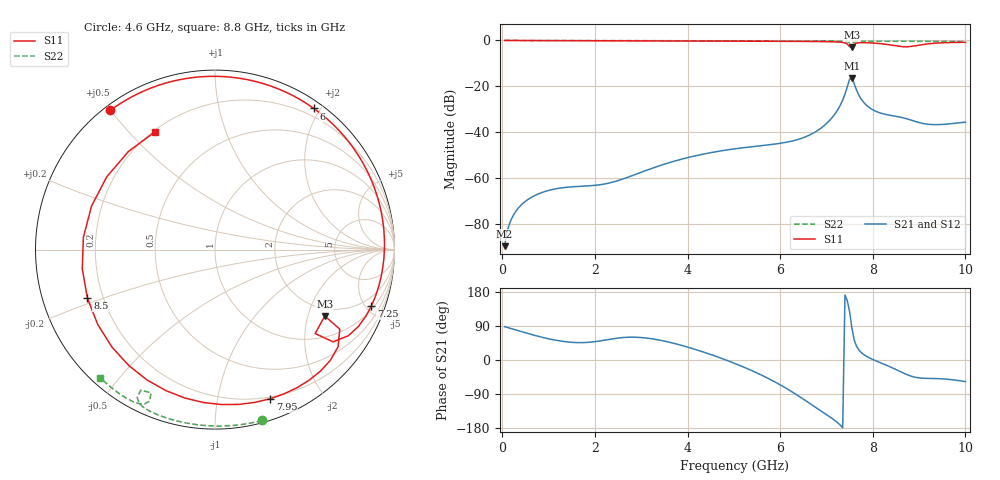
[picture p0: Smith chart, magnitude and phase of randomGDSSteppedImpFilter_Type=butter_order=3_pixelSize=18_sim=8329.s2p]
! freq	dB(S11)	phase(S11)	dB(S12)	phase(S12)
!  dB(S21)	phase(S21)	dB(S22)	phase(S22)
!S-par simulation data
#  GHz  S  DB  R 50
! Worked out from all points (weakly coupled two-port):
!   200 points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, 50 MHz to 10 GHz, reference 50 ohm
!   highest |S21| = -16.33 dB at 7.55 GHz (marker M1); lowest = -89.7 dB at 50 MHz (marker M2)
!   lowest |S11| = -2.9 dB at 7.55 GHz (marker M3), VSWR 6.02, Z = 84.9 - j129 ohm
!   |S11| at or under -10 dB: nowhere
!   |S22| runs from -1.2 to 0.0 dB; largest |S21 - S12| = 0
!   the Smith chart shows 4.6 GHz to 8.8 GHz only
!   S11 on the Smith chart (normalised r, x): 4.6 GHz: 0.02, +0.50; 6 GHz: 0.10, +1.92; 7.25 GHz: 1.23, -5.43; 7.95 GHz: 0.18, -1.42; 8.5 GHz: 0.14, -0.18; 8.8 GHz: 0.21, +0.59
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0.05  -0.00 -2.9  -89.70 88.0  -89.70 88.0  -0.00 -0.9
0.7  -0.05 -40.2  -67.62 64.9  -67.62 64.9  -0.02 -12.0
1.25  -0.09 -70.6  -64.38 50.2  -64.38 50.2  -0.03 -21.3
1.75  -0.12 -96.8  -63.54 45.9  -63.54 45.9  -0.04 -29.6
2.65  -0.16 -141.0  -60.09 59.6  -60.09 59.6  -0.06 -44.3
3.4  -0.19 -176.2  -54.60 52.4  -54.60 52.4  -0.07 -56.2
4.6  -0.26 127.0  -48.56 10.3  -48.56 10.3  -0.11 -74.6
5.05  -0.29 104.7  -47.17 -10.5  -47.17 -10.5  -0.12 -81.2
6  -0.35 55.0  -44.85 -65.5  -44.85 -65.5  -0.17 -94.9
6.7  -0.44 15.6  -40.58 -119.5  -40.58 -119.5  -0.21 -104.8
7.25  -0.67 -19.9  -30.01 -166.3  -30.01 -166.3  -0.28 -113.1
7.45  -1.57 -38.0  -20.23 156.1  -20.23 156.1  -0.61 -117.7
7.55  -2.91 -31.2  -16.33 84.0  -16.33 84.0  -1.17 -114.1
7.65  -1.17 -38.3  -21.69 36.0  -21.69 36.0  -0.50 -114.5
7.95  -1.05 -69.7  -29.61 4.2  -29.61 4.2  -0.32 -120.1
8.35  -1.88 -126.6  -32.54 -16.7  -32.54 -16.7  -0.34 -125.8
8.5  -2.38 -159.1  -33.07 -25.1  -33.07 -25.1  -0.35 -127.9
8.65  -2.74 160.6  -33.70 -33.8  -33.70 -33.8  -0.36 -129.9
8.8  -2.66 117.1  -34.56 -41.5  -34.56 -41.5  -0.37 -131.9
9  -2.04 67.0  -35.80 -47.2  -35.80 -47.2  -0.39 -134.6
9.3  -1.27 17.4  -36.70 -48.8  -36.70 -48.8  -0.42 -138.5
10  -0.81 -40.4  -35.62 -57.0  -35.62 -57.0  -0.50 -147.8
